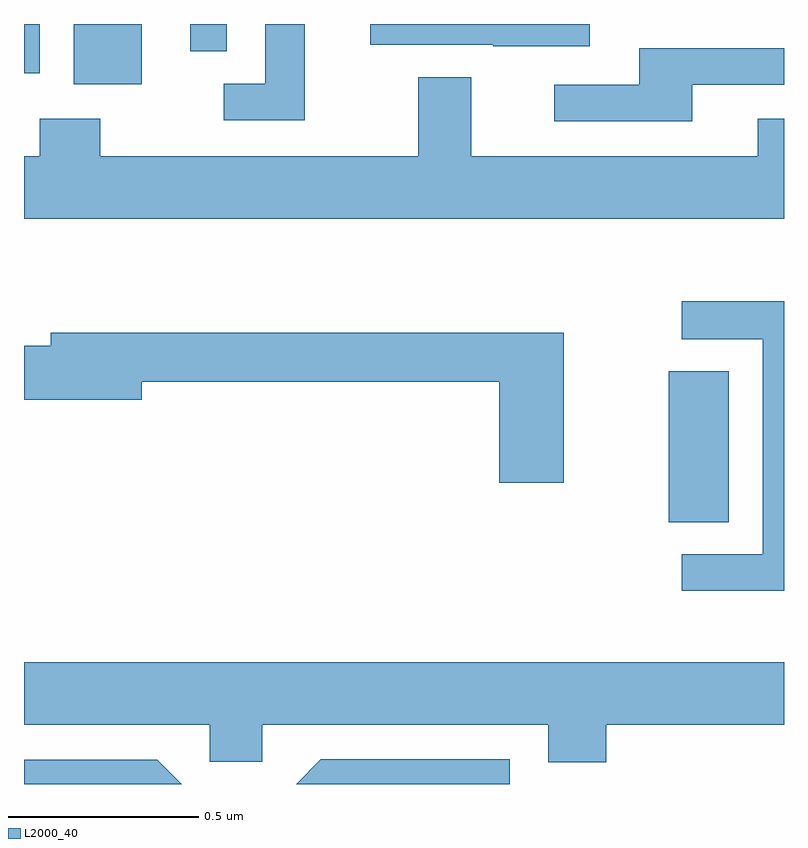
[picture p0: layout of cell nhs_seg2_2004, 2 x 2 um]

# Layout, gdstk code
import gdstk
lib = gdstk.Library(unit=1e-6, precision=1e-09)
def R(c, l, rs):  # rectangles x0, y0, x1, y1
    for r in rs: c.add(gdstk.rectangle(r[:2], r[2:], *l))
def P(c, l, *ps):  # polygons
    for p in ps: c.add(gdstk.Polygon(p, *l))
L2000_40 = (2000, 40)

nhs_seg2_2004 = lib.new_cell('nhs_seg2_2004')
R(nhs_seg2_2004, L2000_40, [(136.697,661.489,136.855,661.886), (135.131,662.642,135.31,662.8), (135,662.671,135.042,662.8), (135.438,662.728,135.534,662.8)])
P(nhs_seg2_2004, L2000_40, [(136.489,662.8),(135.911,662.8),(135.911,662.745),(136.235,662.745),(136.235,662.741),(136.489,662.741)],
  [(135.739,662.8),(135.635,662.8),(135.635,662.643),(135.525,662.643),(135.525,662.547),(135.739,662.547)],
  [(136.759,662.64),(137,662.64),(137,662.736),(136.619,662.736),(136.619,662.64),(136.395,662.64),(136.395,662.544),(136.759,662.544)],
  [(137,662.551),(136.931,662.551),(136.931,662.452),(136.177,662.452),(136.177,662.66),(136.037,662.66),(136.037,662.452),(135.201,662.452),(135.201,662.551),(135.041,662.551),(135.041,662.452),(135,662.452),(135,662.288),(137,662.288)],
  [(137,662.07),(136.731,662.07),(136.731,661.971),(136.944,661.971),(136.944,661.404),(136.731,661.404),(136.731,661.308),(137,661.308)],
  [(136.42,661.987),(135.071,661.987),(135.071,661.953),(135,661.953),(135,661.811),(135.31,661.811),(135.31,661.858),(136.25,661.858),(136.25,661.593),(136.42,661.593)],
  [(136.532,660.956),(137,660.956),(137,661.12),(135,661.12),(135,660.956),(135.489,660.956),(135.489,660.858),(135.627,660.858),(135.627,660.956),(136.379,660.956),(136.379,660.857),(136.532,660.857)],
  [(136.278,660.865),(135.781,660.865),(135.716,660.8),(136.278,660.8)],
  [(135.351,660.864),(135,660.864),(135,660.8),(135.415,660.8)])

lib.write_gds('nhs_seg2_2004.gds')
